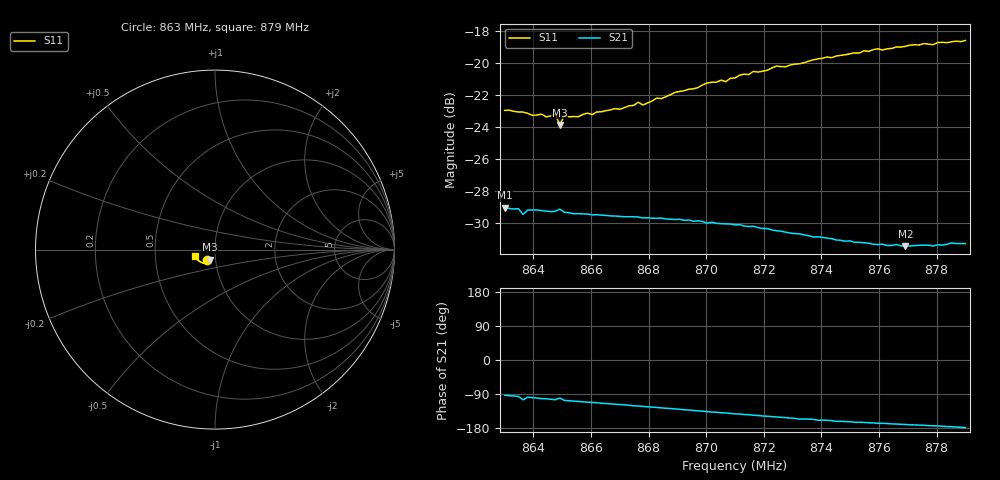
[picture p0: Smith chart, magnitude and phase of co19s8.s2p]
# HZ S RI R 50
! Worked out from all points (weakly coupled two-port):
!   101 points, 863 MHz to 879 MHz, reference 50 ohm
!   highest |S21| = -29.07 dB at 863 MHz (marker M1); lowest = -31.5 dB at 876.92 MHz (marker M2)
!   lowest |S11| = -23.9 dB at 864.92 MHz (marker M3), VSWR 1.14, Z = 46.9 - j5.35 ohm
!   |S11| at or under -10 dB: start of sweep to end of sweep
!   S12 and S22 are empty: the file has one direction only
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8.63e8  -0.0439 -0.0556  -0.00186 -0.0351  0 0  0 0
8.6348e8  -0.0424 -0.0558  -0.00381 -0.0347  0 0  0 0
8.6364e8  -0.0425 -0.0557  -0.00876 -0.0324  0 0  0 0
8.638e8  -0.0409 -0.0561  -0.00487 -0.0342  0 0  0 0
8.6444e8  -0.0371 -0.0566  -0.00727 -0.0336  0 0  0 0
8.6476e8  -0.0389 -0.057  -0.00874 -0.0332  0 0  0 0
8.6492e8  -0.0293 -0.0568  -0.00633 -0.0343  0 0  0 0
8.6508e8  -0.0365 -0.0581  -0.00974 -0.0326  0 0  0 0
8.6556e8  -0.0352 -0.0578  -0.0111 -0.0318  0 0  0 0
8.6572e8  -0.0346 -0.0596  -0.0117 -0.0316  0 0  0 0
8.67e8  -0.0349 -0.0624  -0.0153 -0.0293  0 0  0 0
8.6764e8  -0.036 -0.066  -0.0172 -0.0281  0 0  0 0
8.678e8  -0.036 -0.0643  -0.0175 -0.0276  0 0  0 0
8.6844e8  -0.0371 -0.0677  -0.0194 -0.0263  0 0  0 0
8.7004e8  -0.0459 -0.0732  -0.0227 -0.0218  0 0  0 0
8.71e8  -0.0503 -0.0741  -0.0246 -0.0191  0 0  0 0
8.7244e8  -0.0619 -0.0755  -0.0259 -0.0147  0 0  0 0
8.7276e8  -0.0621 -0.0746  -0.026 -0.0139  0 0  0 0
8.7372e8  -0.0703 -0.0739  -0.0262 -0.0113  0 0  0 0
8.7644e8  -0.0931 -0.06  -0.0263 -0.00527  0 0  0 0
8.7692e8  -0.0971 -0.0566  -0.0263 -0.00458  0 0  0 0
8.79e8  -0.1111 -0.0376  -0.0272 -0.000826  0 0  0 0
